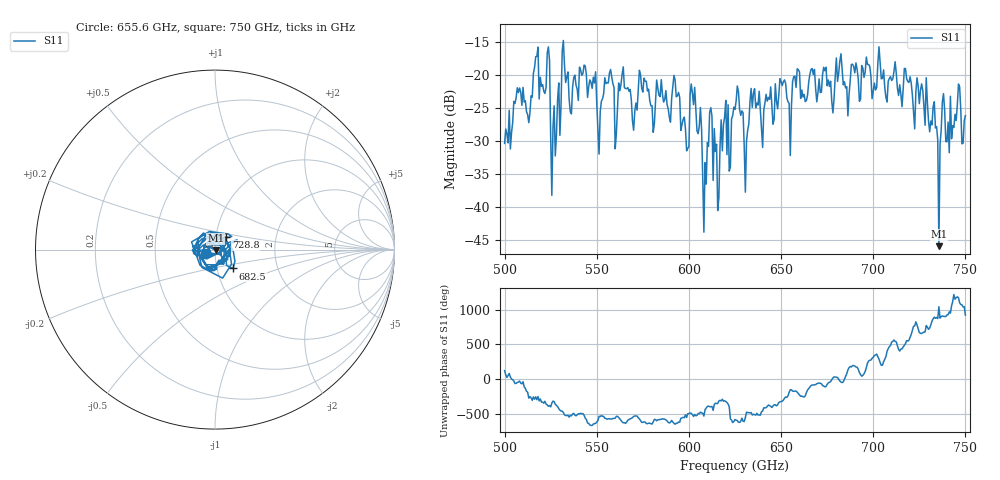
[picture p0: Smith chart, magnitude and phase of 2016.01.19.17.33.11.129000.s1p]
!Created with skrf (http://scikit-rf.org).
# GHz S RI R 50.0
!freq ReS11 ImS11
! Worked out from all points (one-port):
!   401 points, 500 GHz to 750 GHz, reference 50 ohm
!   lowest |S11| = -46.0 dB at 735.6 GHz (marker M1), VSWR 1.01, Z = 50.4 - j0.322 ohm
!   |S11| at or under -10 dB: start of sweep to end of sweep
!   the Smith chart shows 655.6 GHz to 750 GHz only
!   S11 on the Smith chart (normalised r, x): 655.6 GHz: 0.90, -0.04; 682.5 GHz: 1.19, -0.26; 728.8 GHz: 1.12, +0.16; 750 GHz: 0.91, -0.03
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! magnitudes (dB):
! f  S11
! 500 GHz  -30.4
! 507.5 GHz  -22.6
! 513.8 GHz  -25.7
! 516.9 GHz  -17.2
! 523.1 GHz  -16.6
! 526.9 GHz  -24.6
! 531.2 GHz  -16.3
! 548.1 GHz  -20.3
! 551.2 GHz  -32.0
! 562.5 GHz  -22.4
! 593.8 GHz  -23.1
! 598.8 GHz  -31.5
! 602.5 GHz  -24.5
! 608.8 GHz  -33.3
! 611.2 GHz  -25.6
! 615.6 GHz  -40.6
! 625 GHz  -25.2
! 631.2 GHz  -30.0
! 634.4 GHz  -24.9
! 655.6 GHz  -24.7
! 656.2 GHz  -21.0
! 682.5 GHz  -16.7
! 687.5 GHz  -20.9
! 718.8 GHz  -21.0
! 728.8 GHz  -20.4
! 735.6 GHz  -46.0
! 737.5 GHz  -24.1
! 750 GHz  -26.1
